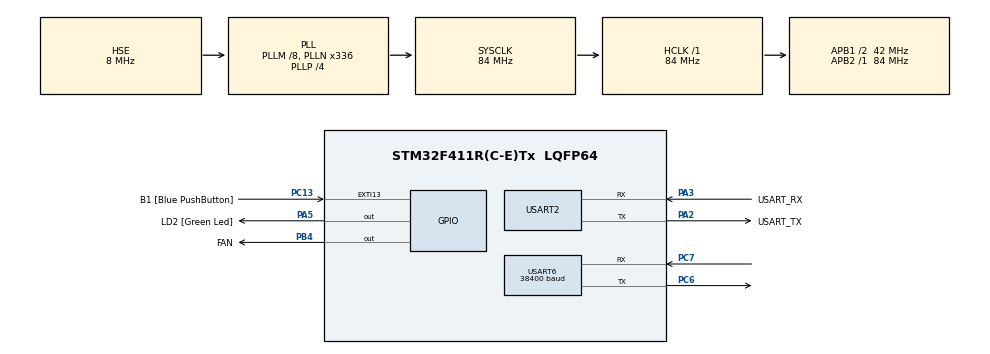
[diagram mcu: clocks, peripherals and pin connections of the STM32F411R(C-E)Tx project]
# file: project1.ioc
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FREERTOS.Mutexes01=ESP_Mutex,Dynamic,NULL,Available;NTP_Mutex,Dynamic,NULL,Available
FREERTOS.Tasks01=AiotTask,24,256,Aiot_Task,Default,NULL,Dynamic,NULL,NULL;NTPTask,24,512,NTP_Task,Default,NULL,Dynamic,NULL,NULL;WeatherTask,16,1024,Weather_Task,Default,NULL,Dynamic,NULL,NULL;CommandTask,32,256,Command_Task,Default,NULL,Dynamic,NULL,NULL
Mcu.Family=STM32F4
Mcu.Name=STM32F411R(C-E)Tx
Mcu.Package=LQFP64
NVIC.PriorityGroup=NVIC_PRIORITYGROUP_4
NVIC.RTC_Alarm_IRQn=true\:5\:0\:false\:false\:true\:true\:true\:true\:true
NVIC.TIM3_IRQn=true\:5\:0\:false\:false\:true\:true\:true\:true\:true
NVIC.USART2_IRQn=true\:5\:0\:false\:false\:true\:true\:true\:true\:true
NVIC.USART6_IRQn=true\:5\:0\:false\:false\:true\:true\:true\:true\:true
PA13.GPIO_Label=TMS
PA13.Mode=Serial_Wire
PA13.Signal=SYS_JTMS-SWDIO
PA14.GPIO_Label=TCK
PA14.Mode=Serial_Wire
PA14.Signal=SYS_JTCK-SWCLK
PA2.GPIO_Label=USART_TX
PA2.Mode=Asynchronous
PA2.Signal=USART2_TX
PA3.GPIO_Label=USART_RX
PA3.Mode=Asynchronous
PA3.Signal=USART2_RX
PA5.GPIO_Label=LD2 [Green Led]
PA5.Signal=GPIO_Output
PB3.GPIO_Label=SWO
PB3.Signal=SYS_JTDO-SWO
PB4.GPIO_Label=FAN
PB4.Signal=GPIO_Output
PC13-ANTI_TAMP.GPIO_Label=B1 [Blue PushButton]
PC13-ANTI_TAMP.GPIO_ModeDefaultEXTI=GPIO_MODE_IT_FALLING
PC13-ANTI_TAMP.Signal=GPXTI13
PC14-OSC32_IN.Signal=RCC_OSC32_IN
PC15-OSC32_OUT.Signal=RCC_OSC32_OUT
PC6.Mode=Asynchronous
PC6.Signal=USART6_TX
PC7.Mode=Asynchronous
PC7.Signal=USART6_RX
PH0\ -\ OSC_IN.Mode=HSE-External-Oscillator
PH0\ -\ OSC_IN.Signal=RCC_OSC_IN
PH1\ -\ OSC_OUT.Mode=HSE-External-Oscillator
PH1\ -\ OSC_OUT.Signal=RCC_OSC_OUT
ProjectManager.HeapSize=0x200
ProjectManager.StackSize=0x400
ProjectManager.TargetToolchain=STM32CubeIDE
RCC.48MHZClocksFreq_Value=84000000
RCC.AHBFreq_Value=84000000
RCC.APB1CLKDivider=RCC_HCLK_DIV2
RCC.APB1Freq_Value=42000000
RCC.APB1TimFreq_Value=84000000
RCC.APB2Freq_Value=84000000
RCC.APB2TimFreq_Value=84000000
RCC.CortexFreq_Value=84000000
RCC.FLatency-AdvancedSettings=FLASH_LATENCY_2
RCC.HCLKFreq_Value=84000000
RCC.HSE_VALUE=8000000
RCC.HSI_VALUE=16000000
RCC.LSE_VALUE=32768
RCC.PLLM=8
RCC.PLLN=336
RCC.PLLP=RCC_PLLP_DIV4
RCC.PLLSourceVirtual=RCC_PLLSOURCE_HSE
RCC.SYSCLKFreq_VALUE=84000000
RCC.SYSCLKSource=RCC_SYSCLKSOURCE_PLLCLK
RCC.VCOOutputFreq_Value=336000000
RTC.Alarm=RTC_ALARM_A
TIM3.AutoReloadPreload=TIM_AUTORELOAD_PRELOAD_ENABLE
TIM3.Period=1000-1
TIM3.Prescaler=84-1
USART2.VirtualMode=VM_ASYNC
USART6.BaudRate=38400
USART6.VirtualMode=VM_ASYNC
VP_FREERTOS_VS_CMSIS_V2.Mode=CMSIS_V2
VP_RTC_VS_RTC_Activate.Mode=RTC_Enabled
VP_RTC_VS_RTC_Alarm_A_Intern.Mode=Alarm A
VP_RTC_VS_RTC_Calendar.Mode=RTC_Calendar
VP_TIM3_VS_ClockSourceINT.Mode=Internal
board=NUCLEO-F411RE

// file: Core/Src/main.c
/* USER CODE BEGIN Header */
/**
  ******************************************************************************
  * @file           : main.c
  * @brief          : Main program body
  ******************************************************************************
  * @attention
  *
  * Copyright (c) 2024 STMicroelectronics.
  * All rights reserved.
  *
  * This software is licensed under terms that can be found in the LICENSE file
  * in the root directory of this software component.
  * If no LICENSE file comes with this software, it is provided AS-IS.
  *
  ******************************************************************************
  */
/* USER CODE END Header */
#include "main.h"
#include "cmsis_os.h"

/* USER CODE BEGIN Includes */
#include <stdio.h>
#include <string.h>
#include "esp.h"
/* USER CODE END Includes */

/* USER CODE BEGIN PD */
#ifdef __GNUC__
/* With GCC, small printf (option LD Linker->Libraries->Small printf
   set to 'Yes') calls __io_putchar() */
#define PUTCHAR_PROTOTYPE int __io_putchar(int ch)
#else
#define PUTCHAR_PROTOTYPE int fputc(int ch, FILE *f)
#endif /* __GNUC__ */
#define ARR_CNT 5
#define CMD_SIZE 50

// LED/FAN 제어 매크로 (없다면 직접 HAL_GPIO_WritePin으로 대체)
#define LED_ON()   HAL_GPIO_WritePin(LD2_GPIO_Port, LD2_Pin, GPIO_PIN_SET)
#define LED_OFF()  HAL_GPIO_WritePin(LD2_GPIO_Port, LD2_Pin, GPIO_PIN_RESET)
#define FAN_ON()   HAL_GPIO_WritePin(FAN_GPIO_Port, FAN_Pin, GPIO_PIN_SET)
#define FAN_OFF()  HAL_GPIO_WritePin(FAN_GPIO_Port, FAN_Pin, GPIO_PIN_RESET)

/* USER CODE END PD */

RTC_HandleTypeDef hrtc;

TIM_HandleTypeDef htim3;

UART_HandleTypeDef huart2;
UART_HandleTypeDef huart6;

/* Definitions for AiotTask */
osThreadId_t AiotTaskHandle;
const osThreadAttr_t AiotTask_attributes = {
  .name = "AiotTask",
  .stack_size = 256 * 4,
  .priority = (osPriority_t) osPriorityNormal,
};
/* Definitions for NTPTask */
osThreadId_t NTPTaskHandle;
const osThreadAttr_t NTPTask_attributes = {
  .name = "NTPTask",
  .stack_size = 512 * 4,
  .priority = (osPriority_t) osPriorityNormal,
};
/* Definitions for WeatherTask */
osThreadId_t WeatherTaskHandle;
const osThreadAttr_t WeatherTask_attributes = {
  .name = "WeatherTask",
  .stack_size = 1024 * 4,
  .priority = (osPriority_t) osPriorityBelowNormal,
};
/* Definitions for CommandTask */
osThreadId_t CommandTaskHandle;
const osThreadAttr_t CommandTask_attributes = {
  .name = "CommandTask",
  .stack_size = 256 * 4,
  .priority = (osPriority_t) osPriorityAboveNormal,
};
/* Definitions for ESP_Mutex */
osMutexId_t ESP_MutexHandle;
const osMutexAttr_t ESP_Mutex_attributes = {
  .name = "ESP_Mutex"
};
/* Definitions for NTP_Mutex */
osMutexId_t NTP_MutexHandle;
const osMutexAttr_t NTP_Mutex_attributes = {
  .name = "NTP_Mutex"
};
/* USER CODE BEGIN PV */
uint8_t rx2char;
extern cb_data_t cb_data;
extern volatile unsigned char rx2Flag;
extern volatile char rx2Data[50];
volatile int tim3Flag1Sec=1;
volatile unsigned int tim3Sec;
/* USER CODE END PV */

void SystemClock_Config(void);
static void MX_GPIO_Init(void);
static void MX_USART2_UART_Init(void);
static void MX_USART6_UART_Init(void);
static void MX_TIM3_Init(void);
static void MX_RTC_Init(void);
void Aiot_Task(void *argument);
void NTP_Task(void *argument);
void Weather_Task(void *argument);
void Command_Task(void *argument);

/* USER CODE BEGIN PFP */
char strBuff[MAX_ESP_COMMAND_LEN];
void MX_GPIO_LED_ON(int flag);
void MX_GPIO_LED_OFF(int flag);
void MX_GPIO_FAN_ON(int flag);
void MX_GPIO_FAN_OFF(int flag);
void esp_event(const char *recvBuf);
char sendBuf[MAX_UART_COMMAND_LEN]={0};
/* USER CODE END PFP */

/* USER CODE BEGIN 0 */
#define NTPTIME_TASK_PERIOD_MS 10000  // ntp 시간 10초마다 갱신
#define WEATHER_TASK_PERIOD_MS 10000  // 날씨정보 10초마다 갱신

time_t ntp_time;
/* USER CODE END 0 */

int main(void)
{

  /* USER CODE BEGIN 1 */
  int ret = 0;
  /* USER CODE END 1 */

  /* MCU Configuration--------------------------------------------------------*/

  /* Reset of all peripherals, Initializes the Flash interface and the Systick. */
  HAL_Init();

  /* Configure the system clock */
  SystemClock_Config();

  /* Initialize all configured peripherals */
  MX_GPIO_Init();
  MX_USART2_UART_Init();
  MX_USART6_UART_Init();
  MX_TIM3_Init();
  MX_RTC_Init();
  /* USER CODE BEGIN 2 */
  printf("Start main() - wifi\r\n");
  ret |= drv_uart_init();
  ret |= drv_esp_init();
  if(ret != 0)
  {
	  printf("Esp response error\r\n");
	  Error_Handler();
  }

  if(HAL_TIM_Base_Start_IT(&htim3) != HAL_OK)
  {
	  Error_Handler();
  }

  /* USER CODE END 2 */

  /* Init scheduler */
  osKernelInitialize();
  /* Create the mutex(es) */
  /* creation of ESP_Mutex */
  ESP_MutexHandle = osMutexNew(&ESP_Mutex_attributes);

  /* creation of NTP_Mutex */
  NTP_MutexHandle = osMutexNew(&NTP_Mutex_attributes);

  /* Create the thread(s) */
  /* creation of AiotTask */
  AiotTaskHandle = osThreadNew(Aiot_Task, NULL, &AiotTask_attributes);

  /* creation of NTPTask */
  NTPTaskHandle = osThreadNew(NTP_Task, NULL, &NTPTask_attributes);

  /* creation of WeatherTask */
  WeatherTaskHandle = osThreadNew(Weather_Task, NULL, &WeatherTask_attributes);

  /* creation of CommandTask */
  CommandTaskHandle = osThreadNew(Command_Task, NULL, &CommandTask_attributes);

  /* Start scheduler */
  osKernelStart();

  /* We should never get here as control is now taken by the scheduler */

  /* Infinite loop */
  /* USER CODE BEGIN WHILE */
  while (1)
  {
	// main()에서는 더 이상 처리할 것이 없음
	// 모든 기능은 FreeRTOS Task에서 처리
	osDelay(1000); // 안전을 위해 1초 대기
    /* USER CODE END WHILE */

  }
}

void SystemClock_Config(void)
{
  RCC_OscInitTypeDef RCC_OscInitStruct = {0};
  RCC_ClkInitTypeDef RCC_ClkInitStruct = {0};

  /** Configure the main internal regulator output voltage
  */
  __HAL_RCC_PWR_CLK_ENABLE();
  __HAL_PWR_VOLTAGESCALING_CONFIG(PWR_REGULATOR_VOLTAGE_SCALE1);

  /** Initializes the RCC Oscillators according to the specified parameters
  * in the RCC_OscInitTypeDef structure.
  */
  RCC_OscInitStruct.OscillatorType = RCC_OSCILLATORTYPE_LSI|RCC_OSCILLATORTYPE_HSE;
  RCC_OscInitStruct.HSEState = RCC_HSE_ON;
  RCC_OscInitStruct.LSIState = RCC_LSI_ON;
  RCC_OscInitStruct.PLL.PLLState = RCC_PLL_ON;
  RCC_OscInitStruct.PLL.PLLSource = RCC_PLLSOURCE_HSE;
  RCC_OscInitStruct.PLL.PLLM = 8;
  RCC_OscInitStruct.PLL.PLLN = 336;
  RCC_OscInitStruct.PLL.PLLP = RCC_PLLP_DIV4;
  RCC_OscInitStruct.PLL.PLLQ = 4;
  if (HAL_RCC_OscConfig(&RCC_OscInitStruct) != HAL_OK)
  {
    Error_Handler();
  }

  /** Initializes the CPU, AHB and APB buses clocks
  */
  RCC_ClkInitStruct.ClockType = RCC_CLOCKTYPE_HCLK|RCC_CLOCKTYPE_SYSCLK
                              |RCC_CLOCKTYPE_PCLK1|RCC_CLOCKTYPE_PCLK2;
  RCC_ClkInitStruct.SYSCLKSource = RCC_SYSCLKSOURCE_PLLCLK;
  RCC_ClkInitStruct.AHBCLKDivider = RCC_SYSCLK_DIV1;
  RCC_ClkInitStruct.APB1CLKDivider = RCC_HCLK_DIV2;
  RCC_ClkInitStruct.APB2CLKDivider = RCC_HCLK_DIV1;

  if (HAL_RCC_ClockConfig(&RCC_ClkInitStruct, FLASH_LATENCY_2) != HAL_OK)
  {
    Error_Handler();
  }
}

static void MX_RTC_Init(void)
{

  RTC_TimeTypeDef sTime = {0};
  RTC_DateTypeDef sDate = {0};
  RTC_AlarmTypeDef sAlarm = {0};

  /** Initialize RTC Only
  */
  hrtc.Instance = RTC;
  hrtc.Init.HourFormat = RTC_HOURFORMAT_24;
  hrtc.Init.AsynchPrediv = 127;
  hrtc.Init.SynchPrediv = 255;
  hrtc.Init.OutPut = RTC_OUTPUT_DISABLE;
  hrtc.Init.OutPutPolarity = RTC_OUTPUT_POLARITY_HIGH;
  hrtc.Init.OutPutType = RTC_OUTPUT_TYPE_OPENDRAIN;
  if (HAL_RTC_Init(&hrtc) != HAL_OK)
  {
    Error_Handler();
  }

  /** Initialize RTC and set the Time and Date
  */
  sTime.Hours = 0x0;
  sTime.Minutes = 0x0;
  sTime.Seconds = 0x0;
  sTime.DayLightSaving = RTC_DAYLIGHTSAVING_NONE;
  sTime.StoreOperation = RTC_STOREOPERATION_RESET;
  if (HAL_RTC_SetTime(&hrtc, &sTime, RTC_FORMAT_BCD) != HAL_OK)
  {
    Error_Handler();
  }
  sDate.WeekDay = RTC_WEEKDAY_MONDAY;
  sDate.Month = RTC_MONTH_JANUARY;
  sDate.Date = 0x1;
  sDate.Year = 0x0;

  if (HAL_RTC_SetDate(&hrtc, &sDate, RTC_FORMAT_BCD) != HAL_OK)
  {
    Error_Handler();
  }

  /** Enable the Alarm A
  */
  sAlarm.AlarmTime.Hours = 0x0;
  sAlarm.AlarmTime.Minutes = 0x0;
  sAlarm.AlarmTime.Seconds = 0x0;
  sAlarm.AlarmTime.SubSeconds = 0x0;
  sAlarm.AlarmTime.DayLightSaving = RTC_DAYLIGHTSAVING_NONE;
  sAlarm.AlarmTime.StoreOperation = RTC_STOREOPERATION_RESET;
  sAlarm.AlarmMask = RTC_ALARMMASK_NONE;
  sAlarm.AlarmSubSecondMask = RTC_ALARMSUBSECONDMASK_ALL;
  sAlarm.AlarmDateWeekDaySel = RTC_ALARMDATEWEEKDAYSEL_DATE;
  sAlarm.AlarmDateWeekDay = 0x1;
  sAlarm.Alarm = RTC_ALARM_A;
  if (HAL_RTC_SetAlarm_IT(&hrtc, &sAlarm, RTC_FORMAT_BCD) != HAL_OK)
  {
    Error_Handler();
  }

}

static void MX_TIM3_Init(void)
{

  TIM_ClockConfigTypeDef sClockSourceConfig = {0};
  TIM_MasterConfigTypeDef sMasterConfig = {0};

  htim3.Instance = TIM3;
  htim3.Init.Prescaler = 84-1;
  htim3.Init.CounterMode = TIM_COUNTERMODE_UP;
  htim3.Init.Period = 1000-1;
  htim3.Init.ClockDivision = TIM_CLOCKDIVISION_DIV1;
  htim3.Init.AutoReloadPreload = TIM_AUTORELOAD_PRELOAD_ENABLE;
  if (HAL_TIM_Base_Init(&htim3) != HAL_OK)
  {
    Error_Handler();
  }
  sClockSourceConfig.ClockSource = TIM_CLOCKSOURCE_INTERNAL;
  if (HAL_TIM_ConfigClockSource(&htim3, &sClockSourceConfig) != HAL_OK)
  {
    Error_Handler();
  }
  sMasterConfig.MasterOutputTrigger = TIM_TRGO_RESET;
  sMasterConfig.MasterSlaveMode = TIM_MASTERSLAVEMODE_DISABLE;
  if (HAL_TIMEx_MasterConfigSynchronization(&htim3, &sMasterConfig) != HAL_OK)
  {
    Error_Handler();
  }

}

static void MX_USART2_UART_Init(void)
{

  huart2.Instance = USART2;
  huart2.Init.BaudRate = 115200;
  huart2.Init.WordLength = UART_WORDLENGTH_8B;
  huart2.Init.StopBits = UART_STOPBITS_1;
  huart2.Init.Parity = UART_PARITY_NONE;
  huart2.Init.Mode = UART_MODE_TX_RX;
  huart2.Init.HwFlowCtl = UART_HWCONTROL_NONE;
  huart2.Init.OverSampling = UART_OVERSAMPLING_16;
  if (HAL_UART_Init(&huart2) != HAL_OK)
  {
    Error_Handler();
  }

}

static void MX_USART6_UART_Init(void)
{

  huart6.Instance = USART6;
  huart6.Init.BaudRate = 38400;
  huart6.Init.WordLength = UART_WORDLENGTH_8B;
  huart6.Init.StopBits = UART_STOPBITS_1;
  huart6.Init.Parity = UART_PARITY_NONE;
  huart6.Init.Mode = UART_MODE_TX_RX;
  huart6.Init.HwFlowCtl = UART_HWCONTROL_NONE;
  huart6.Init.OverSampling = UART_OVERSAMPLING_16;
  if (HAL_UART_Init(&huart6) != HAL_OK)
  {
    Error_Handler();
  }

}

static void MX_GPIO_Init(void)
{
  GPIO_InitTypeDef GPIO_InitStruct = {0};

  /* GPIO Ports Clock Enable */
  __HAL_RCC_GPIOC_CLK_ENABLE();
  __HAL_RCC_GPIOH_CLK_ENABLE();
  __HAL_RCC_GPIOA_CLK_ENABLE();
  __HAL_RCC_GPIOB_CLK_ENABLE();

  /*Configure GPIO pin Output Level */
  HAL_GPIO_WritePin(LD2_GPIO_Port, LD2_Pin, GPIO_PIN_RESET);

  /*Configure GPIO pin Output Level */
  HAL_GPIO_WritePin(FAN_GPIO_Port, FAN_Pin, GPIO_PIN_RESET);

  /*Configure GPIO pin : B1_Pin */
  GPIO_InitStruct.Pin = B1_Pin;
  GPIO_InitStruct.Mode = GPIO_MODE_IT_FALLING;
  GPIO_InitStruct.Pull = GPIO_NOPULL;
  HAL_GPIO_Init(B1_GPIO_Port, &GPIO_InitStruct);

  /*Configure GPIO pin : LD2_Pin */
  GPIO_InitStruct.Pin = LD2_Pin;
  GPIO_InitStruct.Mode = GPIO_MODE_OUTPUT_PP;
  GPIO_InitStruct.Pull = GPIO_NOPULL;
  GPIO_InitStruct.Speed = GPIO_SPEED_FREQ_LOW;
  HAL_GPIO_Init(LD2_GPIO_Port, &GPIO_InitStruct);

  /*Configure GPIO pin : FAN_Pin */
  GPIO_InitStruct.Pin = FAN_Pin;
  GPIO_InitStruct.Mode = GPIO_MODE_OUTPUT_PP;
  GPIO_InitStruct.Pull = GPIO_NOPULL;
  GPIO_InitStruct.Speed = GPIO_SPEED_FREQ_LOW;
  HAL_GPIO_Init(FAN_GPIO_Port, &GPIO_InitStruct);

}

/* USER CODE BEGIN 4 */
void MX_GPIO_LED_ON(int pin)
{
	HAL_GPIO_WritePin(LD2_GPIO_Port, pin, GPIO_PIN_SET);
}
void MX_GPIO_LED_OFF(int pin)
{
	HAL_GPIO_WritePin(LD2_GPIO_Port, pin, GPIO_PIN_RESET);
}
void MX_GPIO_FAN_ON(int pin)
{
	HAL_GPIO_WritePin(FAN_GPIO_Port, pin, GPIO_PIN_SET);
}
void MX_GPIO_FAN_OFF(int pin)
{
	HAL_GPIO_WritePin(FAN_GPIO_Port, pin, GPIO_PIN_RESET);
}

void esp_event(const char *recvBuf)
{
    char strBuff[128];
    char *pArray[4] = {0,};

    // 1) 문자열 복사 (안전하게 처리)
    strncpy(strBuff, recvBuf, sizeof(strBuff)-1);
    strBuff[sizeof(strBuff)-1] = '\0';

    // 2) 개행문자 제거
    char *newline = strchr(strBuff, '\n');
    if (newline) *newline = '\0';
    newline = strchr(strBuff, '\r');
    if (newline) *newline = '\0';

    // 3) 파싱 (구분자 @, 공백, [, ] 처리)
    int idx = 0;
    char *token = strtok(strBuff, "[]@ ");
    while (token != NULL && idx < 4)
    {
        pArray[idx++] = token;
        token = strtok(NULL, "[]@ ");
    }

    // 디버깅 출력
    /*
    printf("Parsed: pArray[0]=%s, pArray[1]=%s, pArray[2]=%s\r\n",
           pArray[0] ? pArray[0] : "NULL",
           pArray[1] ? pArray[1] : "NULL",
           pArray[2] ? pArray[2] : "NULL");
    */
    // 4) 명령 실행
    if (pArray[1] && pArray[2])
    {
        if (strcmp(pArray[1], "LED") == 0)
        {
            if (strcmp(pArray[2], "ON") == 0) {
                LED_ON();
                printf("LED turned ON\r\n");
            }
            else if (strcmp(pArray[2], "OFF") == 0) {
                LED_OFF();
                printf("LED turned OFF\r\n");
            }
        }
        else if (strcmp(pArray[1], "FAN") == 0)
        {
            if (strcmp(pArray[2], "ON") == 0) {
                FAN_ON();
                printf("FAN turned ON\r\n");
            }
            else if (strcmp(pArray[2], "OFF") == 0) {
                FAN_OFF();
                printf("FAN turned OFF\r\n");
            }
        }
        else
        {
            printf("Unknown device: %s\r\n", pArray[1]);
        }
    }
    else
    {
        printf("Invalid command format: %s\r\n", recvBuf);
    }
}

void HAL_TIM_PeriodElapsedCallback(TIM_HandleTypeDef *htim)		//1ms 마다 호출
{
	static int tim3Cnt = 0;
	tim3Cnt++;
	if(tim3Cnt >= 1000) //1ms * 1000 = 1Sec
	{
		tim3Flag1Sec = 1;
		tim3Sec++;
		tim3Cnt = 0;
	}
}
/* USER CODE END 4 */

void Aiot_Task(void *argument)
{
  /* USER CODE BEGIN 5 */
  /* Infinite loop */
	AiotClient_Init();
	for(;;)
	{
		if (esp_get_status() != 0)
		{
		   printf("server connecting ...\r\n");
		   if(osMutexAcquire(ESP_MutexHandle, osWaitForever) == osOK)
			 {
			 	esp_client_conn();  // TCP 연결
			 	osMutexRelease(ESP_MutexHandle);
			 }
		}
		vTaskDelay(pdMS_TO_TICKS(10000)); // 10초
	}
  /* USER CODE END 5 */
}

void NTP_Task(void *argument)
{
  /* USER CODE BEGIN NTP_Task */
  /* Infinite loop */
    static time_t epoch;
    uint16_t length = 0;
	TickType_t xLastWakeTime = xTaskGetTickCount();
	const TickType_t xPeriod1 = pdMS_TO_TICKS(NTPTIME_TASK_PERIOD_MS);

	for(;;)
	{
		if(esp_get_status() == 0)  // TCP 연결 확인
		{
			if(osMutexAcquire(ESP_MutexHandle, osWaitForever) == osOK)
			{
				// UART 버퍼 초기화
				cb_data.length = 0;
				memset(cb_data.buf, 0, sizeof(cb_data.buf));

				// NTP 서버 설정 (매 요청 안전)
				if(esp_ntp_config() == 0)
				{
					if(esp_at_command((uint8_t *)"AT+CIPSNTPTIME?\r\n",
									  (uint8_t *)response, &length, 5000) == 0)
					{
						char *p = strtok(response, "\r\n");
						while(p != NULL)
						{
							if(parse_cipsntptime_line(p, &epoch) == 0)
							{
								printf("NTP request success!\r\n");
								printf("NTP Time (KST): %s", ctime(&epoch));

					            // Mutex로 전역 변수 갱신
								if(osMutexAcquire(NTP_MutexHandle, osWaitForever) == osOK)
								{
									ntp_time = epoch;
									osMutexRelease(NTP_MutexHandle);
								}

								break;
							}
							p = strtok(NULL, "\r\n");
						}
					}
				}

				osMutexRelease(ESP_MutexHandle);
			}
		}
		else
		{
			printf("TCP not connected!, reconnecting...\r\n");
			if(osMutexAcquire(ESP_MutexHandle, osWaitForever) == osOK)
			{
				esp_client_conn();
				osMutexRelease(ESP_MutexHandle);
			}
		}

		vTaskDelayUntil(&xLastWakeTime, xPeriod1); // 10초마다
	}
  /* USER CODE END NTP_Task */
}

void Weather_Task(void *argument)
{
	for(;;)
	{
	}
}

void Command_Task(void *argument)
{
  /* USER CODE BEGIN Command_Task */
  /* Infinite loop */

	for(;;)
	{
		// 라인 단위로 안전하게 긁기
		if (osMutexAcquire(ESP_MutexHandle, osWaitForever) == osOK) {

			if(strstr((char *)cb_data.buf,"+IPD") && cb_data.buf[cb_data.length-1] == '\n')
			{
				//?��?��?���??  \r\n+IPD,15:[KSH_LIN]HELLO\n
				strcpy(strBuff,strchr((char *)cb_data.buf,'['));
				memset(cb_data.buf,0x0,sizeof(cb_data.buf));
				cb_data.length = 0;
				esp_event(strBuff);
				printf("Debug cb_data: %s\r\n", cb_data.buf);
			}
			osMutexRelease(ESP_MutexHandle);
		}

		// UART2 콘솔 입력
		if(rx2Flag)
		{
		    char tmp[50];
		    strncpy(tmp, (char *)rx2Data, sizeof(tmp)-1);
		    tmp[sizeof(tmp)-1] = '\0';
		    tmp[strcspn(tmp, "\r\n")] = '\0'; // 개행 제거
		    printf("UART2 recv: %s\r\n", tmp);
		    rx2Flag = 0;
		}

		vTaskDelay(pdMS_TO_TICKS(20)); // 20ms 틱
	}
  /* USER CODE END Command_Task */
}

void Error_Handler(void)
{
  __disable_irq();
  while (1)
  {
  }
}
